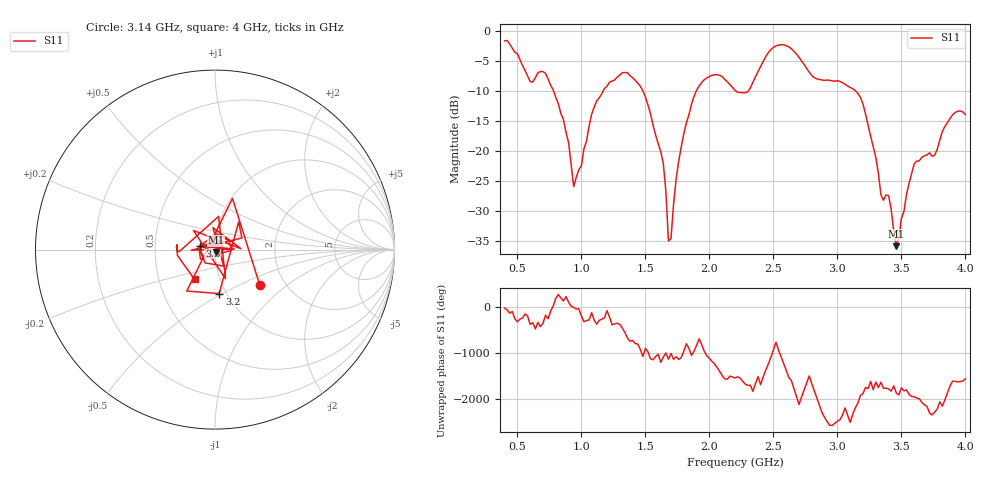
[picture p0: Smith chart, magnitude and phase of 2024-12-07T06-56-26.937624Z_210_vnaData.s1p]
!Created with skrf (http://scikit-rf.org).
# Hz S RI R 50.0
!freq ReS11 ImS11
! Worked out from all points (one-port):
!   181 points, 400 MHz to 4 GHz, reference 50 ohm
!   lowest |S11| = -35.8 dB at 3.46 GHz (marker M1), VSWR 1.03, Z = 50.5 - j1.54 ohm
!   |S11| at or under -10 dB: 782.4 MHz to 1.171 GHz (388.4 MHz wide, 39.8 % of centre); 1.48 GHz to 1.898 GHz (417.8 MHz wide, 24.7 % of centre); 3.142 GHz to end of sweep (the widest 3 of 4)
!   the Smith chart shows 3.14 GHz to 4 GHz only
!   S11 on the Smith chart (normalised r, x): 3.14 GHz: 1.49, -0.65; 3.2 GHz: 0.93, -0.48; 3.3 GHz: 0.84, +0.04; 4 GHz: 0.76, -0.26
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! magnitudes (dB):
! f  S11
! 400 MHz  -1.7
! 600 MHz  -8.5
! 720 MHz  -7.1
! 860 MHz  -14.8
! 940 MHz  -25.9
! 1.1 GHz  -12.7
! 1.3 GHz  -7.4
! 1.52 GHz  -12.3
! 1.64 GHz  -22.1
! 1.68 GHz  -34.9
! 1.7 GHz  -34.5
! 1.76 GHz  -21.7
! 1.94 GHz  -8.6
! 2.2 GHz  -9.9
! 2.3 GHz  -10.2
! 2.5 GHz  -2.8
! 2.66 GHz  -3.4
! 2.82 GHz  -7.8
! 3.1 GHz  -9.4
! 3.14 GHz  -10.0
! 3.2 GHz  -12.2
! 3.3 GHz  -21.0
! 3.34 GHz  -27.2
! 3.4 GHz  -27.4
! 3.46 GHz  -35.8
! 3.56 GHz  -25.3
! 3.9 GHz  -14.0
! 4 GHz  -13.9
